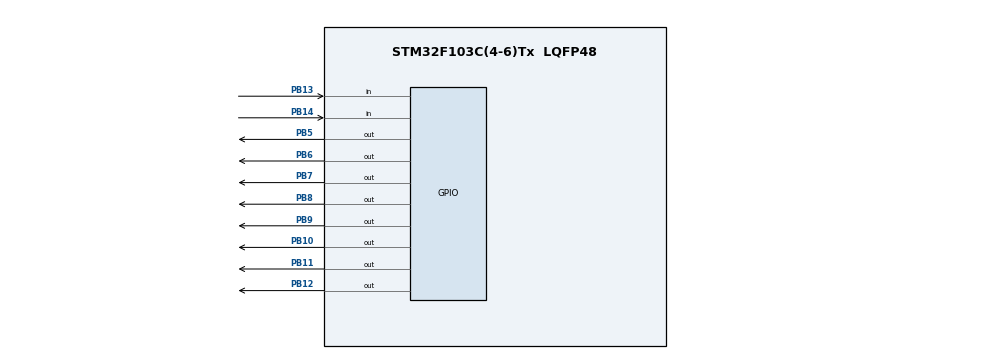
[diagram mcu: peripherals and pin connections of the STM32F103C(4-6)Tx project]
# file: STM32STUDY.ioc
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Mcu.Family=STM32F1
Mcu.Name=STM32F103C(4-6)Tx
Mcu.Package=LQFP48
NVIC.PriorityGroup=NVIC_PRIORITYGROUP_4
PB10.Signal=GPIO_Output
PB11.Signal=GPIO_Output
PB12.Signal=GPIO_Output
PB13.GPIO_PuPd=GPIO_PULLDOWN
PB13.Signal=GPIO_Input
PB14.GPIO_PuPd=GPIO_PULLDOWN
PB14.Signal=GPIO_Input
PB5.Signal=GPIO_Output
PB6.Signal=GPIO_Output
PB7.Signal=GPIO_Output
PB8.Signal=GPIO_Output
PB9.Signal=GPIO_Output
ProjectManager.HeapSize=0x200
ProjectManager.StackSize=0x400
ProjectManager.TargetToolchain=STM32CubeIDE
RCC.AHBCLKDivider=RCC_SYSCLK_DIV8
RCC.AHBFreq_Value=1000000
RCC.APB1Freq_Value=1000000
RCC.APB1TimFreq_Value=1000000
RCC.APB2Freq_Value=1000000
RCC.APB2TimFreq_Value=1000000
RCC.HCLKFreq_Value=1000000
VP_SYS_VS_ND.Mode=No_Debug
board=custom

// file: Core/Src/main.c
/* USER CODE BEGIN Header */
/**
  ******************************************************************************
  * @file           : main.c
  * @brief          : Main program body
  ******************************************************************************
  * @attention
  *
  * <h2><center>&copy; Copyright (c) 2025 STMicroelectronics.
  * All rights reserved.</center></h2>
  *
  * This software component is licensed by ST under BSD 3-Clause license,
  * the "License"; You may not use this file except in compliance with the
  * License. You may obtain a copy of the License at:
  *                        opensource.org/licenses/BSD-3-Clause
  *
  ******************************************************************************
  */
/* USER CODE END Header */
#include "main.h"

/* USER CODE BEGIN Includes */
	uint16_t led_pins_all = (GPIO_PIN_5|GPIO_PIN_6|GPIO_PIN_7|
			GPIO_PIN_8|GPIO_PIN_9|GPIO_PIN_10|
			GPIO_PIN_11|GPIO_PIN_12
			);
	uint16_t led_pins[] = {
			GPIO_PIN_5, GPIO_PIN_6, GPIO_PIN_7,
			GPIO_PIN_8, GPIO_PIN_9, GPIO_PIN_10,
			GPIO_PIN_11, GPIO_PIN_12
	};
	uint8_t mode = 0;
/* USER CODE END Includes */

void SystemClock_Config(void);
static void MX_GPIO_Init(void);

int main(void)
{

  /* MCU Configuration--------------------------------------------------------*/

  /* Reset of all peripherals, Initializes the Flash interface and the Systick. */
  HAL_Init();

  /* Configure the system clock */
  SystemClock_Config();

  /* Initialize all configured peripherals */
  MX_GPIO_Init();

  /* Infinite loop */
  /* USER CODE BEGIN WHILE */
  while (1)
  {
	 if(HAL_GPIO_ReadPin(GPIOB, GPIO_PIN_13) == 1){
		mode = 1;
	 }
	 if(HAL_GPIO_ReadPin(GPIOB, GPIO_PIN_14) == 1){
		 mode = 2;
	 }
	 switch(mode){
		 case 1:
			 for(int i = 0; i < 8; i++){
				  HAL_GPIO_WritePin(GPIOB, led_pins[i], SET);
				  HAL_Delay(500);
			  }
			  HAL_GPIO_WritePin(GPIOB, led_pins_all, RESET);
			  HAL_Delay(500);
			  mode = 0;
			  break;
		 case 2:
			 HAL_GPIO_TogglePin(GPIOB, led_pins_all);
			 HAL_Delay(500);
			 break;
		 /*default:
			 HAL_GPIO_WritePin(GPIOB, led_pins_all, RESET);
			 break;*/
	 }
    /* USER CODE END WHILE */

  }
}

void SystemClock_Config(void)
{
  RCC_OscInitTypeDef RCC_OscInitStruct = {0};
  RCC_ClkInitTypeDef RCC_ClkInitStruct = {0};

  /** Initializes the RCC Oscillators according to the specified parameters
  * in the RCC_OscInitTypeDef structure.
  */
  RCC_OscInitStruct.OscillatorType = RCC_OSCILLATORTYPE_HSI;
  RCC_OscInitStruct.HSIState = RCC_HSI_ON;
  RCC_OscInitStruct.HSICalibrationValue = RCC_HSICALIBRATION_DEFAULT;
  RCC_OscInitStruct.PLL.PLLState = RCC_PLL_NONE;
  if (HAL_RCC_OscConfig(&RCC_OscInitStruct) != HAL_OK)
  {
    Error_Handler();
  }
  /** Initializes the CPU, AHB and APB buses clocks
  */
  RCC_ClkInitStruct.ClockType = RCC_CLOCKTYPE_HCLK|RCC_CLOCKTYPE_SYSCLK
                              |RCC_CLOCKTYPE_PCLK1|RCC_CLOCKTYPE_PCLK2;
  RCC_ClkInitStruct.SYSCLKSource = RCC_SYSCLKSOURCE_HSI;
  RCC_ClkInitStruct.AHBCLKDivider = RCC_SYSCLK_DIV8;
  RCC_ClkInitStruct.APB1CLKDivider = RCC_HCLK_DIV1;
  RCC_ClkInitStruct.APB2CLKDivider = RCC_HCLK_DIV1;

  if (HAL_RCC_ClockConfig(&RCC_ClkInitStruct, FLASH_LATENCY_0) != HAL_OK)
  {
    Error_Handler();
  }
}

static void MX_GPIO_Init(void)
{
  GPIO_InitTypeDef GPIO_InitStruct = {0};

  /* GPIO Ports Clock Enable */
  __HAL_RCC_GPIOB_CLK_ENABLE();

  /*Configure GPIO pin Output Level */
  HAL_GPIO_WritePin(GPIOB, GPIO_PIN_10|GPIO_PIN_11|GPIO_PIN_12|GPIO_PIN_5
                          |GPIO_PIN_6|GPIO_PIN_7|GPIO_PIN_8|GPIO_PIN_9, GPIO_PIN_RESET);

  /*Configure GPIO pins : PB10 PB11 PB12 PB5
                           PB6 PB7 PB8 PB9 */
  GPIO_InitStruct.Pin = GPIO_PIN_10|GPIO_PIN_11|GPIO_PIN_12|GPIO_PIN_5
                          |GPIO_PIN_6|GPIO_PIN_7|GPIO_PIN_8|GPIO_PIN_9;
  GPIO_InitStruct.Mode = GPIO_MODE_OUTPUT_PP;
  GPIO_InitStruct.Pull = GPIO_NOPULL;
  GPIO_InitStruct.Speed = GPIO_SPEED_FREQ_LOW;
  HAL_GPIO_Init(GPIOB, &GPIO_InitStruct);

  /*Configure GPIO pins : PB13 PB14 */
  GPIO_InitStruct.Pin = GPIO_PIN_13|GPIO_PIN_14;
  GPIO_InitStruct.Mode = GPIO_MODE_INPUT;
  GPIO_InitStruct.Pull = GPIO_PULLDOWN;
  HAL_GPIO_Init(GPIOB, &GPIO_InitStruct);

}

void Error_Handler(void)
{
  __disable_irq();
  while (1)
  {
  }
}

/************************ (C) COPYRIGHT STMicroelectronics *****END OF FILE****/
